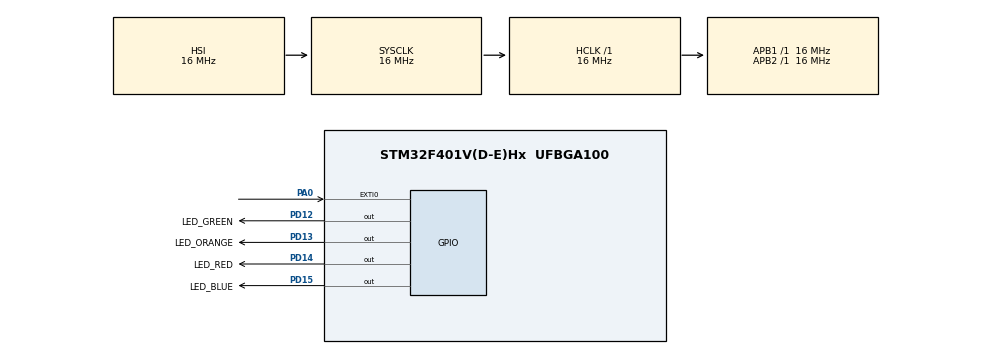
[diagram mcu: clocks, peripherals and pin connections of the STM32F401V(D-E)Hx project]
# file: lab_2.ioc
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Mcu.Family=STM32F4
Mcu.Name=STM32F401V(D-E)Hx
Mcu.Package=UFBGA100
NVIC.EXTI0_IRQn=true\:0\:0\:false\:false\:true\:true\:true\:true
NVIC.PriorityGroup=NVIC_PRIORITYGROUP_4
PA0-WKUP.Signal=GPXTI0
PD12.GPIO_Label=LED_GREEN
PD12.Signal=GPIO_Output
PD13.GPIO_Label=LED_ORANGE
PD13.Signal=GPIO_Output
PD14.GPIO_Label=LED_RED
PD14.Signal=GPIO_Output
PD15.GPIO_Label=LED_BLUE
PD15.Signal=GPIO_Output
ProjectManager.HeapSize=0x200
ProjectManager.StackSize=0x400
ProjectManager.TargetToolchain=STM32CubeIDE
RCC.AHBFreq_Value=16000000
RCC.APB1Freq_Value=16000000
RCC.APB2Freq_Value=16000000
RCC.CortexFreq_Value=16000000
RCC.HSE_VALUE=25000000
RCC.HSI_VALUE=16000000
RCC.LSE_VALUE=32768
RCC.SYSCLKFreq_VALUE=16000000
RCC.VCOOutputFreq_Value=192000000
board=custom

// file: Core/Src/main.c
/* USER CODE BEGIN Header */
/**
  ******************************************************************************
  * @file           : main.c
  * @brief          : Main program body
  ******************************************************************************
  * @attention
  *
  * Copyright (c) 2023 STMicroelectronics.
  * All rights reserved.
  *
  * This software is licensed under terms that can be found in the LICENSE file
  * in the root directory of this software component.
  * If no LICENSE file comes with this software, it is provided AS-IS.
  *
  ******************************************************************************
  */
/* USER CODE END Header */
#include "main.h"

/* USER CODE BEGIN PD */
#define LED_SWITCH_DELAY (400)
/* USER CODE END PD */

/* USER CODE BEGIN PV */
unsigned int out_idx = 0;
/* USER CODE END PV */

void SystemClock_Config(void);
static void MX_GPIO_Init(void);

int main(void)
{

  /* MCU Configuration--------------------------------------------------------*/

  /* Reset of all peripherals, Initializes the Flash interface and the Systick. */
  HAL_Init();

  /* Configure the system clock */
  SystemClock_Config();

  /* Initialize all configured peripherals */
  MX_GPIO_Init();

  /* Infinite loop */
  /* USER CODE BEGIN WHILE */
  while (1)
  {
	  switch(out_idx) {
		case 0:
			HAL_GPIO_WritePin(LED_GREEN_GPIO_Port, LED_GREEN_Pin, GPIO_PIN_SET);
			HAL_Delay(LED_SWITCH_DELAY);
			HAL_GPIO_WritePin(LED_GREEN_GPIO_Port, LED_GREEN_Pin, GPIO_PIN_RESET);
			HAL_Delay(LED_SWITCH_DELAY);
			break;
		case 1:
			HAL_GPIO_WritePin(LED_ORANGE_GPIO_Port, LED_ORANGE_Pin, GPIO_PIN_SET);
			HAL_Delay(LED_SWITCH_DELAY);
			HAL_GPIO_WritePin(LED_ORANGE_GPIO_Port, LED_ORANGE_Pin, GPIO_PIN_RESET);
			HAL_Delay(LED_SWITCH_DELAY);
			break;
		case 2:
			HAL_GPIO_WritePin(LED_RED_GPIO_Port, LED_RED_Pin, GPIO_PIN_SET);
			HAL_Delay(LED_SWITCH_DELAY);
			HAL_GPIO_WritePin(LED_RED_GPIO_Port, LED_RED_Pin, GPIO_PIN_RESET);
			HAL_Delay(LED_SWITCH_DELAY);
			break;
		case 3:
			HAL_GPIO_WritePin(LED_BLUE_GPIO_Port, LED_BLUE_Pin, GPIO_PIN_SET);
			HAL_Delay(LED_SWITCH_DELAY);
			HAL_GPIO_WritePin(LED_BLUE_GPIO_Port, LED_BLUE_Pin, GPIO_PIN_RESET);
			HAL_Delay(LED_SWITCH_DELAY);
			break;
		default:
			break;
	  }
    /* USER CODE END WHILE */

  }
}

void SystemClock_Config(void)
{
  RCC_OscInitTypeDef RCC_OscInitStruct = {0};
  RCC_ClkInitTypeDef RCC_ClkInitStruct = {0};

  /** Configure the main internal regulator output voltage
  */
  __HAL_RCC_PWR_CLK_ENABLE();
  __HAL_PWR_VOLTAGESCALING_CONFIG(PWR_REGULATOR_VOLTAGE_SCALE2);

  /** Initializes the RCC Oscillators according to the specified parameters
  * in the RCC_OscInitTypeDef structure.
  */
  RCC_OscInitStruct.OscillatorType = RCC_OSCILLATORTYPE_HSI;
  RCC_OscInitStruct.HSIState = RCC_HSI_ON;
  RCC_OscInitStruct.HSICalibrationValue = RCC_HSICALIBRATION_DEFAULT;
  RCC_OscInitStruct.PLL.PLLState = RCC_PLL_NONE;
  if (HAL_RCC_OscConfig(&RCC_OscInitStruct) != HAL_OK)
  {
    Error_Handler();
  }

  /** Initializes the CPU, AHB and APB buses clocks
  */
  RCC_ClkInitStruct.ClockType = RCC_CLOCKTYPE_HCLK|RCC_CLOCKTYPE_SYSCLK
                              |RCC_CLOCKTYPE_PCLK1|RCC_CLOCKTYPE_PCLK2;
  RCC_ClkInitStruct.SYSCLKSource = RCC_SYSCLKSOURCE_HSI;
  RCC_ClkInitStruct.AHBCLKDivider = RCC_SYSCLK_DIV1;
  RCC_ClkInitStruct.APB1CLKDivider = RCC_HCLK_DIV1;
  RCC_ClkInitStruct.APB2CLKDivider = RCC_HCLK_DIV1;

  if (HAL_RCC_ClockConfig(&RCC_ClkInitStruct, FLASH_LATENCY_0) != HAL_OK)
  {
    Error_Handler();
  }
}

static void MX_GPIO_Init(void)
{
  GPIO_InitTypeDef GPIO_InitStruct = {0};

  /* GPIO Ports Clock Enable */
  __HAL_RCC_GPIOD_CLK_ENABLE();
  __HAL_RCC_GPIOA_CLK_ENABLE();

  /*Configure GPIO pin Output Level */
  HAL_GPIO_WritePin(GPIOD, LED_BLUE_Pin|LED_RED_Pin|LED_ORANGE_Pin|LED_GREEN_Pin, GPIO_PIN_RESET);

  /*Configure GPIO pins : LED_BLUE_Pin LED_RED_Pin LED_ORANGE_Pin LED_GREEN_Pin */
  GPIO_InitStruct.Pin = LED_BLUE_Pin|LED_RED_Pin|LED_ORANGE_Pin|LED_GREEN_Pin;
  GPIO_InitStruct.Mode = GPIO_MODE_OUTPUT_PP;
  GPIO_InitStruct.Pull = GPIO_NOPULL;
  GPIO_InitStruct.Speed = GPIO_SPEED_FREQ_LOW;
  HAL_GPIO_Init(GPIOD, &GPIO_InitStruct);

  /*Configure GPIO pin : PA0 */
  GPIO_InitStruct.Pin = GPIO_PIN_0;
  GPIO_InitStruct.Mode = GPIO_MODE_IT_RISING;
  GPIO_InitStruct.Pull = GPIO_NOPULL;
  HAL_GPIO_Init(GPIOA, &GPIO_InitStruct);

  /* EXTI interrupt init*/
  HAL_NVIC_SetPriority(EXTI0_IRQn, 0, 0);
  HAL_NVIC_EnableIRQ(EXTI0_IRQn);

}

void Error_Handler(void)
{
  __disable_irq();
  while (1)
  {
  }
}
